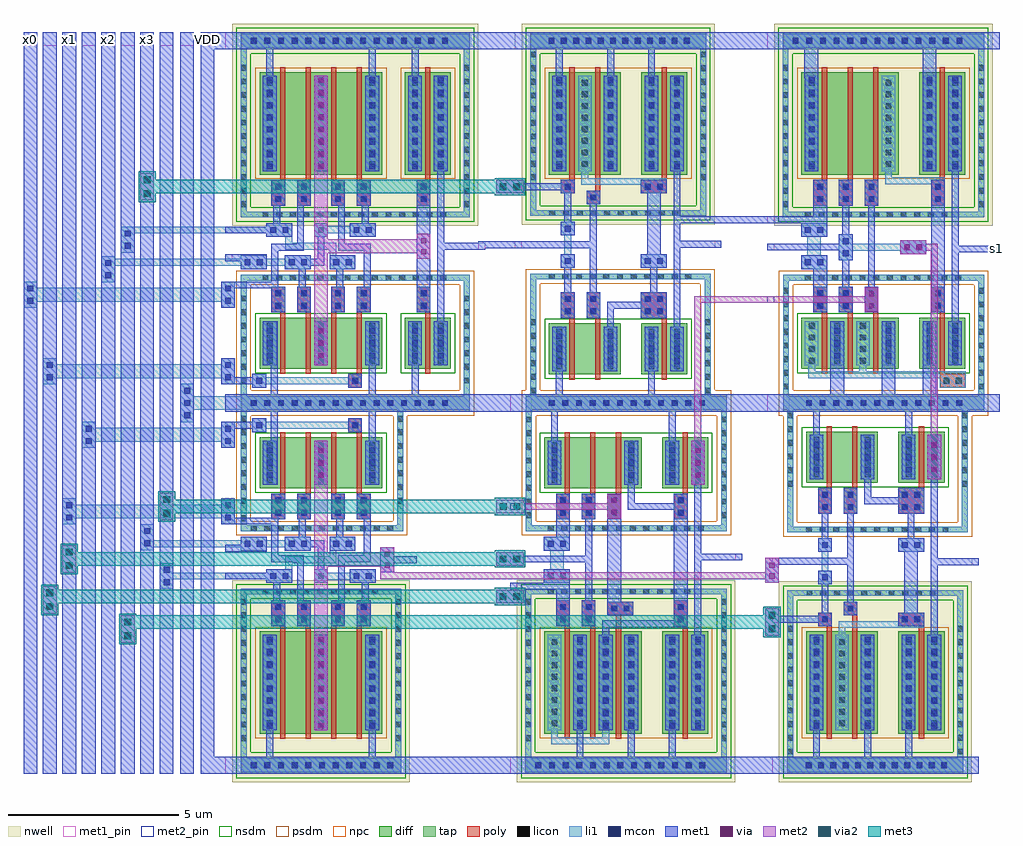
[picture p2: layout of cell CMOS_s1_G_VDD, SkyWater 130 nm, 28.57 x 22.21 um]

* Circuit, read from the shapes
.subckt CMOS_s1_G_VDD GND VDD s1 x0 x0_bar x1 x1_bar x2 x2_bar x3 x3_bar
XM1 n1 x1 GND GND sky130_fd_pr__nfet_01v8 w=1.5 l=0.15
XM2 n2 x0 GND GND sky130_fd_pr__nfet_01v8 w=1.5 l=0.15
XM3 CMOS_AND_G_VDD_5/A x3 n1 GND sky130_fd_pr__nfet_01v8 w=1.5 l=0.15
XM4 n3 x2 n2 GND sky130_fd_pr__nfet_01v8 w=1.5 l=0.15
XM5 n4 x3_bar CMOS_AND_G_VDD_5/A GND sky130_fd_pr__nfet_01v8 w=1.5 l=0.15
XM6 n5 x2_bar n3 GND sky130_fd_pr__nfet_01v8 w=1.5 l=0.15
XM7 GND x1_bar n4 GND sky130_fd_pr__nfet_01v8 w=1.5 l=0.15
XM8 GND x0_bar n5 GND sky130_fd_pr__nfet_01v8 w=1.5 l=0.15
XM9 CMOS_AND_G_VDD_4/A n3 GND GND sky130_fd_pr__nfet_01v8 w=1.5 l=0.15
XM10 n6 x0_bar GND GND sky130_fd_pr__nfet_01v8 w=1.5 l=0.15
XM11 n7 x3 GND GND sky130_fd_pr__nfet_01v8 w=1.5 l=0.15
XM12 n8 x1 n6 GND sky130_fd_pr__nfet_01v8 w=1.5 l=0.15
XM13 n9 CMOS_AND_G_VDD_4/A n7 GND sky130_fd_pr__nfet_01v8 w=1.5 l=0.15
XM14 n10 x3_bar n8 GND sky130_fd_pr__nfet_01v8 w=1.5 l=0.15
XM15 CMOS_3in_OR_G_VDD_2/A n9 GND GND sky130_fd_pr__nfet_01v8 w=1.5 l=0.15
XM16 CMOS_3in_OR_G_VDD_2/C n10 GND GND sky130_fd_pr__nfet_01v8 w=1.5 l=0.15
XM17 GND CMOS_3in_OR_G_VDD_2/A n11 GND sky130_fd_pr__nfet_01v8 w=1.5 l=0.15
XM18 n12 x2_bar GND GND sky130_fd_pr__nfet_01v8 w=1.5 l=0.15
XM19 n11 CMOS_AND_G_VDD_5/AND GND GND sky130_fd_pr__nfet_01v8 w=1.5 l=0.15
XM20 n13 CMOS_AND_G_VDD_5/A n12 GND sky130_fd_pr__nfet_01v8 w=1.5 l=0.15
XM21 GND CMOS_3in_OR_G_VDD_2/C n11 GND sky130_fd_pr__nfet_01v8 w=1.5 l=0.15
XM22 CMOS_AND_G_VDD_5/AND n13 GND GND sky130_fd_pr__nfet_01v8 w=1.5 l=0.15
XM23 s1 n11 GND GND sky130_fd_pr__nfet_01v8 w=1.5 l=0.15
XM24 n14 x3_bar VDD VDD sky130_fd_pr__pfet_01v8 w=3 l=0.15
XM25 n15 x2_bar VDD VDD sky130_fd_pr__pfet_01v8 w=3 l=0.15
XM26 CMOS_AND_G_VDD_5/A x1 n14 VDD sky130_fd_pr__pfet_01v8 w=3 l=0.15
XM27 n3 x0 n15 VDD sky130_fd_pr__pfet_01v8 w=3 l=0.15
XM28 n16 x1_bar CMOS_AND_G_VDD_5/A VDD sky130_fd_pr__pfet_01v8 w=3 l=0.15
XM29 n17 x0_bar n3 VDD sky130_fd_pr__pfet_01v8 w=3 l=0.15
XM30 VDD x3 n16 VDD sky130_fd_pr__pfet_01v8 w=3 l=0.15
XM31 VDD x2 n17 VDD sky130_fd_pr__pfet_01v8 w=3 l=0.15
XM32 CMOS_AND_G_VDD_4/A n3 VDD VDD sky130_fd_pr__pfet_01v8 w=3 l=0.15
XM33 VDD x0_bar n10 VDD sky130_fd_pr__pfet_01v8 w=3 l=0.15
XM34 n9 x3 VDD VDD sky130_fd_pr__pfet_01v8 w=3 l=0.15
XM35 n10 x1 VDD VDD sky130_fd_pr__pfet_01v8 w=3 l=0.15
XM36 VDD CMOS_AND_G_VDD_4/A n9 VDD sky130_fd_pr__pfet_01v8 w=3 l=0.15
XM37 VDD x3_bar n10 VDD sky130_fd_pr__pfet_01v8 w=3 l=0.15
XM38 CMOS_3in_OR_G_VDD_2/A n9 VDD VDD sky130_fd_pr__pfet_01v8 w=3 l=0.15
XM39 CMOS_3in_OR_G_VDD_2/C n10 VDD VDD sky130_fd_pr__pfet_01v8 w=3 l=0.15
XM40 n18 CMOS_3in_OR_G_VDD_2/A VDD VDD sky130_fd_pr__pfet_01v8 w=3 l=0.15
XM41 n13 x2_bar VDD VDD sky130_fd_pr__pfet_01v8 w=3 l=0.15
XM42 n19 CMOS_AND_G_VDD_5/AND n18 VDD sky130_fd_pr__pfet_01v8 w=3 l=0.15
XM43 VDD CMOS_AND_G_VDD_5/A n13 VDD sky130_fd_pr__pfet_01v8 w=3 l=0.15
XM44 n11 CMOS_3in_OR_G_VDD_2/C n19 VDD sky130_fd_pr__pfet_01v8 w=3 l=0.15
XM45 CMOS_AND_G_VDD_5/AND n13 VDD VDD sky130_fd_pr__pfet_01v8 w=3 l=0.15
XM46 s1 n11 VDD VDD sky130_fd_pr__pfet_01v8 w=3 l=0.15
.ends

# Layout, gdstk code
import gdstk
lib = gdstk.Library(unit=1e-6, precision=1e-09)
def R(c, l, rs):  # rectangles x0, y0, x1, y1
    for r in rs: c.add(gdstk.rectangle(r[:2], r[2:], *l))
def A(c, l, x, y, w, h, nx, ny, dx, dy):  # array of equal rectangles
    R(c, l, [(x+i*dx, y+j*dy, x+i*dx+w, y+j*dy+h) for i in range(nx) for j in range(ny)])
nwell = (64, 20)
diff = (65, 20)
tap = (65, 44)
poly = (66, 20)
licon = (66, 44)
li1 = (67, 20)
mcon = (67, 44)
met1_pin = (68, 16)
met1 = (68, 20)
via = (68, 44)
met2_pin = (69, 16)
met2 = (69, 20)
via2 = (69, 44)
met3 = (70, 20)
nsdm = (93, 44)
psdm = (94, 20)
npc = (95, 20)

cmos_xor_g_vdd = lib.new_cell('CMOS_XOR_G_VDD')
R(cmos_xor_g_vdd, nwell, [(0.2,5.56,5.4,11.48)])
R(cmos_xor_g_vdd, diff, [(1,1.375,4.6,2.875), (1,7.06,4.6,10.06)])
R(cmos_xor_g_vdd, tap, [(0.45,0.125,5.205,0.625), (0.45,0.625,0.62,3.955), (5.035,0.625,5.205,3.955), (0.45,3.955,5.205,4.125), (0.45,5.81,5.15,5.98), (0.45,5.98,0.62,10.73), (4.98,5.98,5.15,10.73), (0.45,10.73,5.15,11.23)])
A(cmos_xor_g_vdd, poly, 1.6, 1.225, 0.15, 1.8, 4, 1, 0.75, 0)
A(cmos_xor_g_vdd, poly, 1.6, 6.91, 0.15, 3.3, 4, 1, 0.75, 0)
R(cmos_xor_g_vdd, poly, [(3.6,0.825,4,1.225), (1.35,3.025,1.75,3.785), (2.1,3.025,2.5,3.785), (3.1,3.025,3.5,3.785), (3.85,3.025,4.25,3.785), (1.35,6.15,1.75,6.91), (2.1,6.15,2.5,6.91), (3.1,6.15,3.5,6.91), (3.85,6.15,4.25,6.91)])
A(cmos_xor_g_vdd, licon, 0.745, 0.29, 0.17, 0.17, 11, 2, 0.4, 3.665)
A(cmos_xor_g_vdd, licon, 0.45, 0.75, 0.17, 0.17, 1, 7, 0, 0.4)
A(cmos_xor_g_vdd, licon, 5.035, 0.75, 0.17, 0.17, 1, 7, 0, 0.4)
A(cmos_xor_g_vdd, licon, 1.215, 1.53, 0.17, 0.17, 3, 4, 1.5, 0.34)
A(cmos_xor_g_vdd, licon, 1.09, 5.81, 0.17, 0.17, 9, 1, 0.4, 0)
A(cmos_xor_g_vdd, licon, 0.45, 6.105, 0.17, 0.17, 1, 11, 0, 0.4)
A(cmos_xor_g_vdd, licon, 4.98, 6.105, 0.17, 0.17, 1, 11, 0, 0.4)
A(cmos_xor_g_vdd, licon, 1.215, 7.285, 0.17, 0.17, 3, 8, 1.5, 0.34)
A(cmos_xor_g_vdd, licon, 0.745, 10.895, 0.17, 0.17, 11, 1, 0.4, 0)
R(cmos_xor_g_vdd, licon, [(3.715,0.94,3.885,1.11), (1.465,3.14,1.635,3.31), (2.215,3.14,2.385,3.31), (3.215,3.14,3.385,3.31), (3.965,3.14,4.135,3.31), (1.465,3.5,1.635,3.67), (2.215,3.5,2.385,3.67), (3.215,3.5,3.385,3.67), (3.965,3.5,4.135,3.67), (0.45,3.66,0.62,3.83), (1.465,6.265,1.635,6.435), (2.215,6.265,2.385,6.435), (3.215,6.265,3.385,6.435), (3.965,6.265,4.135,6.435), (1.465,6.625,1.635,6.795), (2.215,6.625,2.385,6.795), (3.215,6.625,3.385,6.795), (3.965,6.625,4.135,6.795)])
A(cmos_xor_g_vdd, li1, 1.1, 1.475, 0.4, 1.3, 3, 1, 1.5, 0)
A(cmos_xor_g_vdd, li1, 1.1, 7.16, 0.4, 2.8, 3, 1, 1.5, 0)
R(cmos_xor_g_vdd, li1, [(0.45,0.175,5.205,0.575), (0.45,0.575,0.62,3.955), (5.035,0.575,5.205,3.955), (0.79,0.825,1.19,0.925), (3.6,0.825,4,0.925), (0.79,0.925,4,1.125), (0.79,1.125,1.19,1.225), (3.6,1.125,4,1.225), (1.35,3.025,1.75,3.785), (2.1,3.025,2.5,3.785), (3.1,3.025,3.5,3.785), (3.85,3.025,4.25,3.785), (0.45,3.955,5.205,4.125), (0.45,4.295,1.21,4.395), (1.74,4.295,2.5,4.395), (3.05,4.295,3.81,4.695), (0.45,4.395,2.5,4.595), (0.45,4.595,1.21,4.695), (1.74,4.595,2.5,4.695), (3.05,4.695,3.25,4.865), (1.76,4.865,3.25,5.065), (1.76,5.065,1.96,5.24), (1.2,5.24,1.96,5.64), (2.6,5.24,3,5.345), (3.64,5.24,4.4,5.345), (2.6,5.345,4.4,5.545), (2.6,5.545,3,5.64), (3.64,5.545,4.4,5.64), (0.45,5.81,5.15,5.98), (0.45,5.98,0.62,10.78), (4.98,5.98,5.15,10.78), (1.35,6.15,1.75,6.91), (2.1,6.15,2.5,6.91), (3.1,6.15,3.5,6.91), (3.85,6.15,4.25,6.91), (0.45,10.78,5.15,11.18)])
A(cmos_xor_g_vdd, mcon, 0.745, 0.29, 0.17, 0.17, 11, 2, 0.4, 10.605)
A(cmos_xor_g_vdd, mcon, 1.215, 1.68, 0.17, 0.17, 3, 3, 1.5, 0.36)
A(cmos_xor_g_vdd, mcon, 1.675, 5.355, 0.17, 0.17, 3, 1, 1.04, 0)
A(cmos_xor_g_vdd, mcon, 1.215, 7.215, 0.17, 0.17, 3, 8, 1.5, 0.36)
R(cmos_xor_g_vdd, mcon, [(0.905,0.94,1.075,1.11), (3.715,0.94,3.885,1.11), (1.465,3.14,1.635,3.31), (2.215,3.14,2.385,3.31), (3.215,3.14,3.385,3.31), (3.965,3.14,4.135,3.31), (1.465,3.5,1.635,3.67), (2.215,3.5,2.385,3.67), (3.215,3.5,3.385,3.67), (3.965,3.5,4.135,3.67), (0.565,4.41,0.735,4.58), (0.925,4.41,1.095,4.58), (1.855,4.41,2.025,4.58), (2.215,4.41,2.385,4.58), (3.165,4.41,3.335,4.58), (3.525,4.41,3.695,4.58), (1.315,5.355,1.485,5.525), (4.115,5.355,4.285,5.525), (1.465,6.265,1.635,6.435), (2.215,6.265,2.385,6.435), (3.215,6.265,3.385,6.435), (3.965,6.265,4.135,6.435), (1.465,6.625,1.635,6.795), (2.215,6.625,2.385,6.795), (3.215,6.625,3.385,6.795), (3.965,6.625,4.135,6.795)])
R(cmos_xor_g_vdd, met1_pin, [(0,0.125,0.5,0.625), (0,0.925,0.2,1.125), (0,3.73,0.2,3.93), (0,4.53,0.2,4.73), (5.4,4.865,5.6,5.065), (0,5.34,0.2,5.54), (0,10.73,0.5,11.23)])
A(cmos_xor_g_vdd, met1, 1.1, 7.16, 0.4, 2.8, 3, 1, 1.5, 0)
R(cmos_xor_g_vdd, met1, [(0,0.125,5.655,0.625), (1.33,0.625,1.53,1.475), (4.2,0.625,4.4,1.475), (0.79,0.825,1.19,0.925), (3.6,0.825,4,1.225), (0,0.925,1.19,1.125), (0.79,1.125,1.19,1.225), (1.1,1.475,1.53,2.775), (2.6,1.475,3,2.775), (4.1,1.475,4.5,2.775), (1.35,3.025,1.75,3.73), (2.1,3.025,2.5,3.785), (3.1,3.025,3.5,3.785), (3.85,3.025,4.25,3.785), (0,3.73,1.75,3.785), (0,3.785,1.55,3.93), (2.15,3.785,2.35,4.295), (3.25,3.785,3.45,4.295), (4.05,3.785,4.25,4.835), (1.35,3.93,1.55,4.835), (0.45,4.295,1.21,4.53), (1.74,4.295,2.5,4.395), (3.05,4.295,3.81,4.695), (1.74,4.395,2.9,4.595), (0,4.53,1.21,4.73), (1.74,4.595,2.5,4.695), (2.7,4.595,2.9,5.24), (4.54,4.605,4.94,4.865), (1.35,4.835,2.3,5.035), (3.3,4.835,4.25,5.035), (4.54,4.865,5.6,5.065), (2.1,5.035,2.3,6.15), (3.3,5.035,3.5,6.15), (4.54,5.065,4.94,5.335), (1.2,5.24,1.96,5.34), (2.6,5.24,3,5.64), (3.64,5.24,4.4,5.64), (0,5.34,1.96,5.54), (1.2,5.54,1.96,5.64), (1.4,5.64,1.6,6.15), (4,5.64,4.2,6.15), (1.35,6.15,1.75,6.91), (2.1,6.15,2.5,6.91), (3.1,6.15,3.5,6.91), (3.85,6.15,4.25,6.91), (1.2,9.96,1.4,10.73), (4.2,9.96,4.4,10.73), (0,10.73,5.6,11.23)])
A(cmos_xor_g_vdd, via, 2.725, 1.69, 0.15, 0.15, 1, 3, 0, 0.36)
A(cmos_xor_g_vdd, via, 2.725, 7.225, 0.15, 0.15, 1, 8, 0, 0.36)
R(cmos_xor_g_vdd, via, [(4.665,4.73,4.815,4.88), (4.665,5.05,4.815,5.2)])
R(cmos_xor_g_vdd, met2, [(2.6,1.475,3,4.765), (4.54,4.605,4.94,4.765), (2.6,4.765,4.94,5.165), (2.6,5.165,3,9.96), (4.54,5.165,4.94,5.335)])
R(cmos_xor_g_vdd, nsdm, [(0.875,1.25,4.725,3), (0.325,5.685,5.275,6.105), (0.325,6.105,0.745,10.605), (4.855,6.105,5.275,10.605), (0.325,10.605,5.275,11.355)])
R(cmos_xor_g_vdd, psdm, [(0.325,0,5.33,0.75), (0.325,0.75,0.745,3.83), (4.91,0.75,5.33,3.83), (0.325,3.83,5.33,4.25), (0.875,6.935,4.725,10.185)])
R(cmos_xor_g_vdd, npc, [(3.615,0.84,3.985,1.21), (1.365,3.04,1.735,3.77), (2.115,3.04,2.485,3.77), (3.115,3.04,3.485,3.77), (3.865,3.04,4.235,3.77), (1.365,6.165,1.735,6.895), (2.115,6.165,2.485,6.895), (3.115,6.165,3.485,6.895), (3.865,6.165,4.235,6.895)])
cmos_xor_g_vdd.add(gdstk.Label('XOR', (5.5,4.965), layer=68, texttype=5))
cmos_xor_g_vdd.add(gdstk.Label('B_bar', (0.1,5.44), layer=68, texttype=5))
cmos_xor_g_vdd.add(gdstk.Label('B', (0.1,4.63), layer=68, texttype=5))
cmos_xor_g_vdd.add(gdstk.Label('A', (0.1,3.83), layer=68, texttype=5))
cmos_xor_g_vdd.add(gdstk.Label('A_bar', (0.1,1.025), layer=68, texttype=5))
cmos_xor_g_vdd.add(gdstk.Label('VDD', (0.25,10.98), layer=68, texttype=5))
cmos_xor_g_vdd.add(gdstk.Label('GND', (0.25,0.375), layer=68, texttype=5))

cmos_3in_and_g_vdd = lib.new_cell('CMOS_3in_AND_G_VDD')
R(cmos_3in_and_g_vdd, nwell, [(0.2,5.56,6.6,11.48)])
R(cmos_3in_and_g_vdd, diff, [(1,1.375,3.85,2.875), (4.45,1.375,5.8,2.875), (1,7.06,3.85,10.06), (4.45,7.06,5.8,10.06)])
R(cmos_3in_and_g_vdd, tap, [(0.465,0.125,6.35,0.625), (0.465,0.625,0.635,3.955), (6.18,0.625,6.35,3.955), (0.465,3.955,6.35,4.125), (0.45,5.81,6.35,5.98), (0.45,5.98,0.62,10.73), (6.18,5.98,6.35,10.73), (0.45,10.73,6.35,11.23)])
A(cmos_3in_and_g_vdd, poly, 1.6, 1.225, 0.15, 1.8, 3, 1, 0.75, 0)
A(cmos_3in_and_g_vdd, poly, 1.35, 3.025, 0.4, 0.76, 3, 1, 0.75, 0)
R(cmos_3in_and_g_vdd, poly, [(5.05,1.225,5.2,3.025), (4.8,3.025,5.2,3.785), (1.35,6.15,1.75,6.91), (2.1,6.15,2.5,6.91), (4.8,6.15,5.2,6.91), (2.85,6.19,3.61,6.59), (3.1,6.59,3.25,10.21), (1.6,6.91,1.75,10.21), (2.35,6.91,2.5,10.21), (5.05,6.91,5.2,10.21)])
A(cmos_3in_and_g_vdd, licon, 1.135, 0.29, 0.17, 0.17, 12, 1, 0.4, 0)
A(cmos_3in_and_g_vdd, licon, 0.465, 0.775, 0.17, 0.17, 1, 8, 0, 0.4)
A(cmos_3in_and_g_vdd, licon, 6.18, 0.775, 0.17, 0.17, 1, 8, 0, 0.4)
A(cmos_3in_and_g_vdd, licon, 1.215, 1.53, 0.17, 0.17, 1, 4, 0, 0.34)
A(cmos_3in_and_g_vdd, licon, 3.465, 1.53, 0.17, 0.17, 1, 4, 0, 0.34)
A(cmos_3in_and_g_vdd, licon, 4.665, 1.53, 0.17, 0.17, 1, 4, 0, 0.34)
A(cmos_3in_and_g_vdd, licon, 5.415, 1.53, 0.17, 0.17, 1, 4, 0, 0.34)
A(cmos_3in_and_g_vdd, licon, 1.465, 3.14, 0.17, 0.17, 3, 2, 0.75, 0.36)
A(cmos_3in_and_g_vdd, licon, 1.105, 3.955, 0.17, 0.17, 12, 1, 0.4, 0)
A(cmos_3in_and_g_vdd, licon, 1.105, 5.81, 0.17, 0.17, 11, 1, 0.4, 0)
A(cmos_3in_and_g_vdd, licon, 0.45, 6.105, 0.17, 0.17, 1, 11, 0, 0.4)
A(cmos_3in_and_g_vdd, licon, 6.18, 6.105, 0.17, 0.17, 1, 11, 0, 0.4)
A(cmos_3in_and_g_vdd, licon, 1.215, 7.285, 0.17, 0.17, 4, 8, 0.75, 0.34)
A(cmos_3in_and_g_vdd, licon, 4.665, 7.285, 0.17, 0.17, 1, 8, 0, 0.34)
A(cmos_3in_and_g_vdd, licon, 5.415, 7.285, 0.17, 0.17, 1, 8, 0, 0.34)
A(cmos_3in_and_g_vdd, licon, 0.745, 10.895, 0.17, 0.17, 13, 1, 0.4, 0)
R(cmos_3in_and_g_vdd, licon, [(4.915,3.14,5.085,3.31), (4.915,3.5,5.085,3.67), (1.465,6.265,1.635,6.435), (2.215,6.265,2.385,6.435), (4.915,6.265,5.085,6.435), (2.965,6.305,3.135,6.475), (3.325,6.305,3.495,6.475), (1.465,6.625,1.635,6.795), (2.215,6.625,2.385,6.795), (4.915,6.625,5.085,6.795)])
A(cmos_3in_and_g_vdd, li1, 1.35, 3.025, 0.4, 0.76, 3, 1, 0.75, 0)
A(cmos_3in_and_g_vdd, li1, 1.1, 7.16, 0.4, 2.8, 4, 1, 0.75, 0)
R(cmos_3in_and_g_vdd, li1, [(0.465,0.175,6.35,0.575), (0.465,0.575,0.635,3.955), (6.18,0.575,6.35,3.955), (1.1,1.475,1.5,2.775), (3.35,1.475,3.75,2.775), (4.55,1.475,4.95,2.775), (5.3,1.475,5.7,2.775), (4.8,3.025,5.2,3.785), (0.465,3.955,6.35,4.125), (0.99,4.295,1.75,4.695), (1.17,4.695,1.57,5.24), (0.99,5.24,1.75,5.64), (0.45,5.81,6.35,5.98), (0.45,5.98,0.62,10.78), (6.18,5.98,6.35,10.78), (1.35,6.15,1.75,6.91), (2.1,6.15,2.5,6.91), (4.8,6.15,5.2,6.91), (2.85,6.19,3.61,6.59), (4.55,7.16,4.95,9.96), (5.3,7.16,5.7,9.96), (1.2,9.96,1.4,10.16), (2.7,9.96,2.9,10.16), (1.2,10.16,2.9,10.36), (0.45,10.78,6.35,11.18)])
A(cmos_3in_and_g_vdd, mcon, 1.135, 0.29, 0.17, 0.17, 12, 1, 0.4, 0)
A(cmos_3in_and_g_vdd, mcon, 1.215, 1.68, 0.17, 0.17, 1, 3, 0, 0.36)
A(cmos_3in_and_g_vdd, mcon, 3.465, 1.68, 0.17, 0.17, 1, 3, 0, 0.36)
A(cmos_3in_and_g_vdd, mcon, 4.665, 1.68, 0.17, 0.17, 1, 3, 0, 0.36)
A(cmos_3in_and_g_vdd, mcon, 5.415, 1.68, 0.17, 0.17, 1, 3, 0, 0.36)
A(cmos_3in_and_g_vdd, mcon, 1.465, 3.14, 0.17, 0.17, 3, 2, 0.75, 0.36)
A(cmos_3in_and_g_vdd, mcon, 1.965, 7.215, 0.17, 0.17, 3, 8, 0.75, 0.36)
A(cmos_3in_and_g_vdd, mcon, 4.665, 7.215, 0.17, 0.17, 1, 8, 0, 0.36)
A(cmos_3in_and_g_vdd, mcon, 5.415, 7.215, 0.17, 0.17, 1, 8, 0, 0.36)
A(cmos_3in_and_g_vdd, mcon, 0.745, 10.895, 0.17, 0.17, 13, 1, 0.4, 0)
R(cmos_3in_and_g_vdd, mcon, [(4.915,3.14,5.085,3.31), (4.915,3.5,5.085,3.67), (1.105,4.41,1.275,4.58), (1.465,4.41,1.635,4.58), (1.105,5.355,1.275,5.525), (1.465,5.355,1.635,5.525), (1.465,6.265,1.635,6.435), (2.215,6.265,2.385,6.435), (4.915,6.265,5.085,6.435), (2.965,6.305,3.135,6.475), (3.325,6.305,3.495,6.475), (1.465,6.625,1.635,6.795), (2.215,6.625,2.385,6.795), (4.915,6.625,5.085,6.795)])
R(cmos_3in_and_g_vdd, met1_pin, [(0,0.125,0.5,0.625), (6.6,4.785,6.8,4.985), (0,4.84,0.2,5.04), (0,5.64,0.2,5.84), (0,10.73,0.5,11.23)])
A(cmos_3in_and_g_vdd, met1, 1.85, 7.16, 0.4, 2.8, 3, 1, 0.75, 0)
R(cmos_3in_and_g_vdd, met1, [(0,0.125,6.8,0.625), (1.2,0.625,1.4,1.475), (4.65,0.625,4.85,1.475), (1.1,1.475,1.5,2.775), (3.35,1.475,3.75,2.775), (4.55,1.475,4.95,2.775), (5.3,1.475,5.7,2.775), (3.45,2.775,3.65,3.305), (5.4,2.775,5.6,4.785), (1.35,3.025,1.75,4.295), (2.1,3.025,2.5,3.785), (2.85,3.025,3.25,6.19), (4.8,3.025,5.2,3.305), (3.45,3.305,5.2,3.505), (4.8,3.505,5.2,6.74), (2.2,3.785,2.4,4.84), (0.99,4.295,1.75,4.695), (5.4,4.785,6.8,4.985), (0,4.84,2.4,5.04), (5.4,4.985,5.6,7.16), (2.2,5.04,2.4,6.15), (0.99,5.24,1.75,5.64), (0,5.64,1.75,5.84), (1.35,5.84,1.75,6.91), (2.1,6.15,2.5,6.91), (2.85,6.19,3.61,6.59), (2.7,6.74,5.2,6.94), (2.7,6.94,2.9,7.16), (4.55,7.16,4.95,9.96), (5.3,7.16,5.7,9.96), (1.95,9.96,2.15,10.73), (3.45,9.96,3.65,10.73), (4.65,9.96,4.85,10.73), (0,10.73,6.8,11.23)])
R(cmos_3in_and_g_vdd, via, [(2.975,3.165,3.125,3.315), (2.975,3.485,3.125,3.635)])
R(cmos_3in_and_g_vdd, met2_pin, [(0,3.305,0.2,3.505)])
R(cmos_3in_and_g_vdd, met2, [(2.85,3.04,3.25,3.305), (0,3.305,3.25,3.505), (2.85,3.505,3.25,3.77)])
R(cmos_3in_and_g_vdd, nsdm, [(0.875,1.25,5.925,3), (0.325,5.685,6.475,6.105), (0.325,6.105,0.745,10.605), (6.055,6.105,6.475,10.605), (0.325,10.605,6.475,11.355)])
R(cmos_3in_and_g_vdd, psdm, [(0.34,0,6.475,0.75), (0.34,0.75,0.76,3.83), (6.055,0.75,6.475,3.83), (0.34,3.83,6.475,4.25), (0.875,6.935,5.925,10.185)])
A(cmos_3in_and_g_vdd, npc, 1.365, 3.04, 0.37, 0.73, 3, 1, 0.75, 0)
R(cmos_3in_and_g_vdd, npc, [(4.815,3.04,5.185,3.77), (1.365,6.165,1.735,6.895), (2.115,6.165,2.485,6.895), (4.815,6.165,5.185,6.895), (2.865,6.205,3.595,6.575)])
cmos_3in_and_g_vdd.add(gdstk.Label('GND', (0.25,0.375), layer=68, texttype=5))
cmos_3in_and_g_vdd.add(gdstk.Label('VDD', (0.25,10.98), layer=68, texttype=5))
cmos_3in_and_g_vdd.add(gdstk.Label('C', (0.1,5.74), layer=68, texttype=5))
cmos_3in_and_g_vdd.add(gdstk.Label('B', (0.1,4.94), layer=68, texttype=5))
cmos_3in_and_g_vdd.add(gdstk.Label('OUT', (6.7,4.885), layer=68, texttype=5))
cmos_3in_and_g_vdd.add(gdstk.Label('A', (0.1,3.405), layer=69, texttype=5))

cmos_3in_or_g_vdd = lib.new_cell('CMOS_3in_OR_G_VDD')
R(cmos_3in_or_g_vdd, nwell, [(0.2,5.56,6.6,11.48)])
R(cmos_3in_or_g_vdd, diff, [(1,1.375,3.85,2.875), (4.45,1.375,5.8,2.875), (1,7.06,3.85,10.06), (4.45,7.06,5.8,10.06)])
R(cmos_3in_or_g_vdd, tap, [(0.465,0.125,6.35,0.625), (0.465,0.625,0.635,3.955), (6.18,0.625,6.35,3.955), (0.465,3.955,6.35,4.125), (0.45,5.81,6.35,5.98), (0.45,5.98,0.62,10.73), (6.18,5.98,6.35,10.73), (0.45,10.73,6.35,11.23)])
A(cmos_3in_or_g_vdd, poly, 1.6, 1.225, 0.15, 1.8, 3, 1, 0.75, 0)
A(cmos_3in_or_g_vdd, poly, 1.35, 3.025, 0.4, 0.76, 3, 2, 0.75, 3.125)
A(cmos_3in_or_g_vdd, poly, 1.6, 6.91, 0.15, 3.3, 3, 1, 0.75, 0)
R(cmos_3in_or_g_vdd, poly, [(5.05,0.825,5.81,1.225), (5.05,1.225,5.2,3.025), (4.8,3.025,5.2,3.785), (4.8,6.15,5.2,6.91), (5.05,6.91,5.2,10.21)])
A(cmos_3in_or_g_vdd, licon, 1.135, 0.29, 0.17, 0.17, 12, 1, 0.4, 0)
A(cmos_3in_or_g_vdd, licon, 0.465, 0.775, 0.17, 0.17, 1, 8, 0, 0.4)
A(cmos_3in_or_g_vdd, licon, 6.18, 0.775, 0.17, 0.17, 1, 8, 0, 0.4)
A(cmos_3in_or_g_vdd, licon, 1.215, 1.53, 0.17, 0.17, 4, 4, 0.75, 0.34)
A(cmos_3in_or_g_vdd, licon, 4.665, 1.53, 0.17, 0.17, 1, 4, 0, 0.34)
A(cmos_3in_or_g_vdd, licon, 5.415, 1.53, 0.17, 0.17, 1, 4, 0, 0.34)
A(cmos_3in_or_g_vdd, licon, 1.465, 3.14, 0.17, 0.17, 3, 2, 0.75, 0.36)
A(cmos_3in_or_g_vdd, licon, 1.105, 3.955, 0.17, 0.17, 12, 1, 0.4, 0)
A(cmos_3in_or_g_vdd, licon, 1.105, 5.81, 0.17, 0.17, 11, 1, 0.4, 0)
A(cmos_3in_or_g_vdd, licon, 0.45, 6.105, 0.17, 0.17, 1, 11, 0, 0.4)
A(cmos_3in_or_g_vdd, licon, 6.18, 6.105, 0.17, 0.17, 1, 11, 0, 0.4)
A(cmos_3in_or_g_vdd, licon, 1.465, 6.265, 0.17, 0.17, 3, 2, 0.75, 0.36)
A(cmos_3in_or_g_vdd, licon, 1.215, 7.285, 0.17, 0.17, 1, 8, 0, 0.34)
A(cmos_3in_or_g_vdd, licon, 3.465, 7.285, 0.17, 0.17, 1, 8, 0, 0.34)
A(cmos_3in_or_g_vdd, licon, 4.665, 7.285, 0.17, 0.17, 1, 8, 0, 0.34)
A(cmos_3in_or_g_vdd, licon, 5.415, 7.285, 0.17, 0.17, 1, 8, 0, 0.34)
A(cmos_3in_or_g_vdd, licon, 0.745, 10.895, 0.17, 0.17, 13, 1, 0.4, 0)
R(cmos_3in_or_g_vdd, licon, [(5.165,0.94,5.335,1.11), (5.525,0.94,5.695,1.11), (4.915,3.14,5.085,3.31), (4.915,3.5,5.085,3.67), (4.915,6.265,5.085,6.435), (4.915,6.625,5.085,6.795)])
A(cmos_3in_or_g_vdd, li1, 1.1, 1.475, 0.4, 1.3, 4, 1, 0.75, 0)
A(cmos_3in_or_g_vdd, li1, 1.35, 3.025, 0.4, 0.76, 3, 2, 0.75, 3.125)
R(cmos_3in_or_g_vdd, li1, [(0.465,0.175,6.35,0.575), (0.465,0.575,0.635,3.955), (6.18,0.575,6.35,3.955), (5.05,0.825,5.81,1.105), (1.2,1.105,5.81,1.305), (1.2,1.305,1.4,1.475), (2.7,1.305,2.9,1.475), (4.55,1.475,4.95,2.775), (5.3,1.475,5.7,2.775), (4.8,3.025,5.2,3.785), (0.465,3.955,6.35,4.125), (0.99,4.295,1.75,4.695), (1.17,4.695,1.57,5.24), (0.99,5.24,1.75,5.64), (0.45,5.81,6.35,5.98), (0.45,5.98,0.62,10.78), (6.18,5.98,6.35,10.78), (4.8,6.15,5.2,6.785), (3.45,6.785,5.2,6.985), (3.45,6.985,3.65,7.16), (1.1,7.16,1.5,9.96), (3.35,7.16,3.75,9.96), (4.55,7.16,4.95,9.96), (5.3,7.16,5.7,9.96), (0.45,10.78,6.35,11.18)])
A(cmos_3in_or_g_vdd, mcon, 1.135, 0.29, 0.17, 0.17, 12, 1, 0.4, 0)
A(cmos_3in_or_g_vdd, mcon, 1.965, 1.68, 0.17, 0.17, 1, 3, 0, 0.36)
A(cmos_3in_or_g_vdd, mcon, 3.465, 1.68, 0.17, 0.17, 1, 3, 0, 0.36)
A(cmos_3in_or_g_vdd, mcon, 4.665, 1.68, 0.17, 0.17, 1, 3, 0, 0.36)
A(cmos_3in_or_g_vdd, mcon, 5.415, 1.68, 0.17, 0.17, 1, 3, 0, 0.36)
A(cmos_3in_or_g_vdd, mcon, 1.465, 3.14, 0.17, 0.17, 3, 2, 0.75, 0.36)
A(cmos_3in_or_g_vdd, mcon, 1.465, 6.265, 0.17, 0.17, 3, 2, 0.75, 0.36)
A(cmos_3in_or_g_vdd, mcon, 1.215, 7.215, 0.17, 0.17, 1, 8, 0, 0.36)
A(cmos_3in_or_g_vdd, mcon, 4.665, 7.215, 0.17, 0.17, 1, 8, 0, 0.36)
A(cmos_3in_or_g_vdd, mcon, 5.415, 7.215, 0.17, 0.17, 1, 8, 0, 0.36)
A(cmos_3in_or_g_vdd, mcon, 0.745, 10.895, 0.17, 0.17, 13, 1, 0.4, 0)
R(cmos_3in_or_g_vdd, mcon, [(4.915,3.14,5.085,3.31), (4.915,3.5,5.085,3.67), (1.105,4.41,1.275,4.58), (1.465,4.41,1.635,4.58), (1.105,5.355,1.275,5.525), (1.465,5.355,1.635,5.525), (4.915,6.265,5.085,6.435), (4.915,6.625,5.085,6.795)])
R(cmos_3in_or_g_vdd, met1_pin, [(0,0.125,0.5,0.625), (6.6,4.785,6.8,4.985), (0,4.84,0.2,5.04), (0,5.64,0.2,5.84), (0,10.73,0.5,11.23)])
R(cmos_3in_or_g_vdd, met1, [(0,0.125,6.8,0.625), (1.85,0.625,2.25,2.775), (3.35,0.625,3.75,2.775), (4.55,0.625,4.95,2.775), (5.3,1.475,5.7,2.775), (5.4,2.775,5.6,4.785), (1.35,3.025,1.75,4.295), (2.1,3.025,2.5,3.785), (2.85,3.025,3.25,3.785), (4.8,3.025,5.2,6.91), (2.2,3.785,2.4,4.84), (2.95,3.785,3.15,6.15), (0.99,4.295,1.75,4.695), (5.4,4.785,6.8,4.985), (0,4.84,2.4,5.04), (5.4,4.985,5.6,7.16), (2.2,5.04,2.4,6.15), (0.99,5.24,1.75,5.64), (0,5.64,1.75,5.84), (1.35,5.84,1.75,6.91), (2.1,6.15,2.5,6.91), (2.85,6.15,3.25,6.91), (1.1,7.16,1.5,9.885), (4.55,7.16,4.95,10.73), (5.3,7.16,5.7,9.96), (1.09,9.885,1.5,9.96), (1.09,9.96,1.49,10.73), (0,10.73,6.8,11.23)])
R(cmos_3in_or_g_vdd, via, [(2.975,3.165,3.125,3.315), (2.975,3.485,3.125,3.635)])
R(cmos_3in_or_g_vdd, met2_pin, [(0,3.305,0.2,3.505)])
R(cmos_3in_or_g_vdd, met2, [(2.85,3.04,3.25,3.305), (0,3.305,3.25,3.505), (2.85,3.505,3.25,3.77)])
R(cmos_3in_or_g_vdd, nsdm, [(0.875,1.25,5.925,3), (0.325,5.685,6.475,6.105), (0.325,6.105,0.745,10.605), (6.055,6.105,6.475,10.605), (0.325,10.605,6.475,11.355)])
R(cmos_3in_or_g_vdd, psdm, [(0.34,0,6.475,0.75), (0.34,0.75,0.76,3.83), (6.055,0.75,6.475,3.83), (0.34,3.83,6.475,4.25), (0.875,6.935,5.925,10.185)])
A(cmos_3in_or_g_vdd, npc, 1.365, 3.04, 0.37, 0.73, 3, 2, 0.75, 3.125)
R(cmos_3in_or_g_vdd, npc, [(5.065,0.84,5.795,1.21), (4.815,3.04,5.185,3.77), (4.815,6.165,5.185,6.895)])
cmos_3in_or_g_vdd.add(gdstk.Label('GND', (0.25,0.375), layer=68, texttype=5))
cmos_3in_or_g_vdd.add(gdstk.Label('VDD', (0.25,10.98), layer=68, texttype=5))
cmos_3in_or_g_vdd.add(gdstk.Label('A', (0.1,5.74), layer=68, texttype=5))
cmos_3in_or_g_vdd.add(gdstk.Label('B', (0.1,4.94), layer=68, texttype=5))
cmos_3in_or_g_vdd.add(gdstk.Label('OR', (6.7,4.885), layer=68, texttype=5))
cmos_3in_or_g_vdd.add(gdstk.Label('C', (0.1,3.405), layer=69, texttype=5))

cmos_xnor_g_vdd = lib.new_cell('CMOS_XNOR_G_VDD')
R(cmos_xnor_g_vdd, nwell, [(0.2,5.56,7.405,11.48)])
R(cmos_xnor_g_vdd, diff, [(1,1.375,4.6,2.875), (5.255,1.375,6.605,2.875), (1,7.06,4.6,10.06), (5.255,7.06,6.605,10.06)])
R(cmos_xnor_g_vdd, tap, [(0.45,0.125,7.155,0.625), (0.45,0.625,0.62,3.955), (6.985,0.625,7.155,3.955), (0.45,3.955,7.155,4.125), (0.45,5.81,7.155,5.98), (0.45,5.98,0.62,10.73), (6.985,5.98,7.155,10.73), (0.45,10.73,7.155,11.23)])
A(cmos_xnor_g_vdd, poly, 1.6, 1.225, 0.15, 1.8, 4, 1, 0.75, 0)
A(cmos_xnor_g_vdd, poly, 1.6, 6.91, 0.15, 3.3, 4, 1, 0.75, 0)
R(cmos_xnor_g_vdd, poly, [(3.6,0.825,4,1.225), (5.855,1.225,6.005,3.025), (1.35,3.025,1.75,3.785), (2.1,3.025,2.5,3.785), (3.1,3.025,3.5,3.785), (3.85,3.025,4.25,3.785), (5.605,3.025,6.005,3.785), (1.35,6.15,1.75,6.91), (2.1,6.15,2.5,6.91), (3.1,6.15,3.5,6.91), (3.85,6.15,4.25,6.91), (5.605,6.15,6.005,6.91), (5.855,6.91,6.005,10.21)])
A(cmos_xnor_g_vdd, licon, 0.745, 0.29, 0.17, 0.17, 15, 2, 0.4, 10.605)
A(cmos_xnor_g_vdd, licon, 0.45, 0.95, 0.17, 0.17, 1, 7, 0, 0.4)
A(cmos_xnor_g_vdd, licon, 6.985, 0.95, 0.17, 0.17, 1, 7, 0, 0.4)
A(cmos_xnor_g_vdd, licon, 1.215, 1.53, 0.17, 0.17, 3, 4, 1.5, 0.34)
A(cmos_xnor_g_vdd, licon, 5.47, 1.53, 0.17, 0.17, 1, 4, 0, 0.34)
A(cmos_xnor_g_vdd, licon, 6.22, 1.53, 0.17, 0.17, 1, 4, 0, 0.34)
A(cmos_xnor_g_vdd, licon, 1.09, 3.955, 0.17, 0.17, 14, 2, 0.4, 1.855)
A(cmos_xnor_g_vdd, licon, 0.45, 6.105, 0.17, 0.17, 1, 11, 0, 0.4)
A(cmos_xnor_g_vdd, licon, 6.985, 6.105, 0.17, 0.17, 1, 11, 0, 0.4)
A(cmos_xnor_g_vdd, licon, 1.215, 7.285, 0.17, 0.17, 3, 8, 1.5, 0.34)
A(cmos_xnor_g_vdd, licon, 5.47, 7.285, 0.17, 0.17, 1, 8, 0, 0.34)
A(cmos_xnor_g_vdd, licon, 6.22, 7.285, 0.17, 0.17, 1, 8, 0, 0.34)
R(cmos_xnor_g_vdd, licon, [(3.715,0.94,3.885,1.11), (1.465,3.14,1.635,3.31), (2.215,3.14,2.385,3.31), (3.215,3.14,3.385,3.31), (3.965,3.14,4.135,3.31), (5.72,3.14,5.89,3.31), (1.465,3.5,1.635,3.67), (2.215,3.5,2.385,3.67), (3.215,3.5,3.385,3.67), (3.965,3.5,4.135,3.67), (5.72,3.5,5.89,3.67), (1.465,6.265,1.635,6.435), (2.215,6.265,2.385,6.435), (3.215,6.265,3.385,6.435), (3.965,6.265,4.135,6.435), (5.72,6.265,5.89,6.435), (1.465,6.625,1.635,6.795), (2.215,6.625,2.385,6.795), (3.215,6.625,3.385,6.795), (3.965,6.625,4.135,6.795), (5.72,6.625,5.89,6.795)])
A(cmos_xnor_g_vdd, li1, 1.1, 1.475, 0.4, 1.3, 3, 1, 1.5, 0)
A(cmos_xnor_g_vdd, li1, 1.1, 7.16, 0.4, 2.8, 3, 1, 1.5, 0)
R(cmos_xnor_g_vdd, li1, [(0.45,0.175,7.155,0.575), (0.45,0.575,0.62,3.955), (6.985,0.575,7.155,3.955), (0.79,0.825,1.19,0.925), (3.6,0.825,4,0.925), (0.79,0.925,4,1.125), (0.79,1.125,1.19,1.225), (3.6,1.125,4,1.225), (5.355,1.475,5.755,2.775), (6.105,1.475,6.505,2.775), (1.35,3.025,1.75,3.785), (2.1,3.025,2.5,3.785), (3.1,3.025,3.5,3.785), (3.85,3.025,4.25,3.785), (5.605,3.025,6.005,3.785), (0.45,3.955,7.155,4.125), (0.45,4.295,1.21,4.395), (1.74,4.295,2.5,4.395), (3.05,4.295,3.81,4.695), (0.45,4.395,2.5,4.595), (0.45,4.595,1.21,4.695), (1.74,4.595,2.5,4.695), (3.05,4.695,3.25,4.865), (1.76,4.865,3.25,5.065), (1.76,5.065,1.96,5.24), (1.2,5.24,1.96,5.64), (2.6,5.24,3,5.345), (3.64,5.24,4.4,5.345), (2.6,5.345,4.4,5.545), (2.6,5.545,3,5.64), (3.64,5.545,4.4,5.64), (0.45,5.81,7.155,5.98), (0.45,5.98,0.62,10.78), (6.985,5.98,7.155,10.78), (1.35,6.15,1.75,6.91), (2.1,6.15,2.5,6.91), (3.1,6.15,3.5,6.91), (3.85,6.15,4.25,6.91), (5.605,6.15,6.005,6.91), (5.355,7.16,5.755,9.96), (6.105,7.16,6.505,9.96), (0.45,10.78,7.155,11.18)])
A(cmos_xnor_g_vdd, mcon, 0.745, 0.29, 0.17, 0.17, 15, 2, 0.4, 10.605)
A(cmos_xnor_g_vdd, mcon, 1.215, 1.68, 0.17, 0.17, 3, 3, 1.5, 0.36)
A(cmos_xnor_g_vdd, mcon, 5.47, 1.68, 0.17, 0.17, 1, 3, 0, 0.36)
A(cmos_xnor_g_vdd, mcon, 6.22, 1.68, 0.17, 0.17, 1, 3, 0, 0.36)
A(cmos_xnor_g_vdd, mcon, 1.675, 5.355, 0.17, 0.17, 3, 1, 1.04, 0)
A(cmos_xnor_g_vdd, mcon, 1.215, 7.215, 0.17, 0.17, 3, 8, 1.5, 0.36)
A(cmos_xnor_g_vdd, mcon, 5.47, 7.215, 0.17, 0.17, 1, 8, 0, 0.36)
A(cmos_xnor_g_vdd, mcon, 6.22, 7.215, 0.17, 0.17, 1, 8, 0, 0.36)
R(cmos_xnor_g_vdd, mcon, [(0.905,0.94,1.075,1.11), (3.715,0.94,3.885,1.11), (1.465,3.14,1.635,3.31), (2.215,3.14,2.385,3.31), (3.215,3.14,3.385,3.31), (3.965,3.14,4.135,3.31), (5.72,3.14,5.89,3.31), (1.465,3.5,1.635,3.67), (2.215,3.5,2.385,3.67), (3.215,3.5,3.385,3.67), (3.965,3.5,4.135,3.67), (5.72,3.5,5.89,3.67), (0.565,4.41,0.735,4.58), (0.925,4.41,1.095,4.58), (1.855,4.41,2.025,4.58), (2.215,4.41,2.385,4.58), (3.165,4.41,3.335,4.58), (3.525,4.41,3.695,4.58), (1.315,5.355,1.485,5.525), (4.115,5.355,4.285,5.525), (1.465,6.265,1.635,6.435), (2.215,6.265,2.385,6.435), (3.215,6.265,3.385,6.435), (3.965,6.265,4.135,6.435), (5.72,6.265,5.89,6.435), (1.465,6.625,1.635,6.795), (2.215,6.625,2.385,6.795), (3.215,6.625,3.385,6.795), (3.965,6.625,4.135,6.795), (5.72,6.625,5.89,6.795)])
R(cmos_xnor_g_vdd, met1_pin, [(0,0.125,0.5,0.625), (0,0.925,0.2,1.125), (0,3.73,0.2,3.93), (0,4.53,0.2,4.73), (7.405,4.865,7.605,5.065), (0,5.34,0.2,5.54), (0,10.73,0.5,11.23)])
A(cmos_xnor_g_vdd, met1, 1.1, 7.16, 0.4, 2.8, 3, 1, 1.5, 0)
R(cmos_xnor_g_vdd, met1, [(0,0.125,7.605,0.625), (1.33,0.625,1.53,1.475), (4.2,0.625,4.4,1.475), (5.455,0.625,5.655,1.475), (0.79,0.825,1.19,0.925), (3.6,0.825,4,1.225), (0,0.925,1.19,1.125), (0.79,1.125,1.19,1.225), (1.1,1.475,1.53,2.775), (2.6,1.475,3,2.775), (4.1,1.475,4.5,2.775), (5.355,1.475,5.755,2.775), (6.105,1.475,6.505,2.775), (6.205,2.775,6.405,4.865), (1.35,3.025,1.75,3.73), (2.1,3.025,2.5,3.785), (3.1,3.025,3.5,3.785), (3.85,3.025,4.25,3.785), (5.605,3.025,6.005,6.91), (0,3.73,1.75,3.785), (0,3.785,1.55,3.93), (2.15,3.785,2.35,4.295), (3.25,3.785,3.45,4.295), (4.05,3.785,4.25,4.835), (1.35,3.93,1.55,4.835), (0.45,4.295,1.21,4.53), (1.74,4.295,2.5,4.395), (3.05,4.295,3.81,4.695), (1.74,4.395,2.9,4.595), (0,4.53,1.21,4.73), (1.74,4.595,2.5,4.695), (2.7,4.595,2.9,5.24), (1.35,4.835,2.3,5.035), (3.3,4.835,4.25,5.035), (6.205,4.865,7.605,5.065), (2.1,5.035,2.3,6.15), (3.3,5.035,3.5,6.15), (6.205,5.065,6.405,7.16), (1.2,5.24,1.96,5.34), (2.6,5.24,3,5.64), (3.64,5.24,4.4,5.64), (0,5.34,1.96,5.54), (1.2,5.54,1.96,5.64), (1.4,5.64,1.6,6.15), (4,5.64,4.2,6.15), (1.35,6.15,1.75,6.91), (2.1,6.15,2.5,6.91), (3.1,6.15,3.5,6.91), (3.85,6.15,4.25,6.91), (5.355,7.16,5.755,9.96), (6.105,7.16,6.505,9.96), (1.2,9.96,1.4,10.73), (4.2,9.96,4.4,10.73), (5.455,9.96,5.655,10.73), (0,10.73,7.605,11.23)])
A(cmos_xnor_g_vdd, via, 2.725, 1.69, 0.15, 0.15, 1, 3, 0, 0.36)
A(cmos_xnor_g_vdd, via, 2.725, 7.225, 0.15, 0.15, 1, 8, 0, 0.36)
R(cmos_xnor_g_vdd, via, [(5.73,4.73,5.88,4.88), (5.73,5.05,5.88,5.2)])
R(cmos_xnor_g_vdd, met2, [(2.6,1.475,3,4.765), (5.605,4.605,6.005,4.765), (2.6,4.765,6.005,5.165), (2.6,5.165,3,9.96), (5.605,5.165,6.005,5.335)])
R(cmos_xnor_g_vdd, nsdm, [(0.875,1.25,4.725,3), (5.13,1.25,6.73,3), (0.325,5.685,7.28,6.105), (0.325,6.105,0.745,10.605), (6.86,6.105,7.28,10.605), (0.325,10.605,7.28,11.355)])
R(cmos_xnor_g_vdd, psdm, [(0.325,0,7.28,0.75), (0.325,0.75,0.745,3.83), (6.86,0.75,7.28,3.83), (0.325,3.83,7.28,4.25), (0.875,6.935,4.725,10.185), (5.13,6.935,6.73,10.185)])
R(cmos_xnor_g_vdd, npc, [(3.615,0.84,3.985,1.21), (1.365,3.04,1.735,3.77), (2.115,3.04,2.485,3.77), (3.115,3.04,3.485,3.77), (3.865,3.04,4.235,3.77), (5.62,3.04,5.99,3.77), (1.365,6.165,1.735,6.895), (2.115,6.165,2.485,6.895), (3.115,6.165,3.485,6.895), (3.865,6.165,4.235,6.895), (5.62,6.165,5.99,6.895)])
cmos_xnor_g_vdd.add(gdstk.Label('B_bar', (0.1,5.44), layer=68, texttype=5))
cmos_xnor_g_vdd.add(gdstk.Label('B', (0.1,4.63), layer=68, texttype=5))
cmos_xnor_g_vdd.add(gdstk.Label('A', (0.1,3.83), layer=68, texttype=5))
cmos_xnor_g_vdd.add(gdstk.Label('A_bar', (0.1,1.025), layer=68, texttype=5))
cmos_xnor_g_vdd.add(gdstk.Label('XNOR', (7.505,4.965), layer=68, texttype=5))
cmos_xnor_g_vdd.add(gdstk.Label('VDD', (0.25,10.98), layer=68, texttype=5))
cmos_xnor_g_vdd.add(gdstk.Label('GND', (0.25,0.375), layer=68, texttype=5))

cmos_and_g_vdd = lib.new_cell('CMOS_AND_G_VDD')
R(cmos_and_g_vdd, nwell, [(0.2,4.915,5.85,10.795)])
R(cmos_and_g_vdd, diff, [(1,0.525,3.1,2.025), (3.7,0.525,5.05,2.025), (1,6.375,3.1,9.375), (3.7,6.375,5.05,9.375)])
R(cmos_and_g_vdd, tap, [(0.45,-0.395,5.73,-0.225), (0.45,-0.225,0.62,3.31), (5.56,-0.225,5.73,3.31), (0.45,3.31,5.73,3.48), (0.45,5.165,5.6,5.335), (0.45,5.335,0.62,10.045), (5.43,5.335,5.6,10.045), (0.45,10.045,5.6,10.545)])
R(cmos_and_g_vdd, poly, [(1.6,0.375,1.75,2.175), (2.35,0.375,2.5,2.175), (4.3,0.375,4.45,2.175), (1.35,2.175,1.75,2.935), (2.1,2.175,2.5,2.935), (3.69,2.175,4.45,2.935), (2.1,5.505,2.5,5.905), (1.35,5.825,1.75,6.225), (3.69,5.825,4.45,6.225), (2.35,5.905,2.5,9.525), (1.6,6.225,1.75,9.525), (4.3,6.225,4.45,9.525)])
A(cmos_and_g_vdd, licon, 0.995, -0.395, 0.17, 0.17, 11, 2, 0.4, 3.705)
A(cmos_and_g_vdd, licon, 0.45, -0.03, 0.17, 0.17, 1, 6, 0, 0.4)
A(cmos_and_g_vdd, licon, 5.56, -0.03, 0.17, 0.17, 1, 6, 0, 0.4)
A(cmos_and_g_vdd, licon, 1.215, 0.68, 0.17, 0.17, 1, 4, 0, 0.34)
A(cmos_and_g_vdd, licon, 2.715, 0.68, 0.17, 0.17, 1, 4, 0, 0.34)
A(cmos_and_g_vdd, licon, 3.915, 0.68, 0.17, 0.17, 1, 4, 0, 0.34)
A(cmos_and_g_vdd, licon, 4.665, 0.68, 0.17, 0.17, 1, 4, 0, 0.34)
A(cmos_and_g_vdd, licon, 1.015, 5.165, 0.17, 0.17, 10, 1, 0.4, 0)
A(cmos_and_g_vdd, licon, 0.45, 6.21, 0.17, 0.17, 1, 10, 0, 0.4)
A(cmos_and_g_vdd, licon, 5.43, 6.21, 0.17, 0.17, 1, 10, 0, 0.4)
A(cmos_and_g_vdd, licon, 1.215, 6.6, 0.17, 0.17, 3, 8, 0.75, 0.34)
A(cmos_and_g_vdd, licon, 3.915, 6.6, 0.17, 0.17, 1, 8, 0, 0.34)
A(cmos_and_g_vdd, licon, 4.665, 6.6, 0.17, 0.17, 1, 8, 0, 0.34)
A(cmos_and_g_vdd, licon, 0.99, 10.21, 0.17, 0.17, 12, 1, 0.36, 0)
R(cmos_and_g_vdd, licon, [(1.465,2.29,1.635,2.46), (2.215,2.29,2.385,2.46), (3.805,2.29,3.975,2.46), (4.165,2.29,4.335,2.46), (1.465,2.65,1.635,2.82), (2.215,2.65,2.385,2.82), (3.805,2.65,3.975,2.82), (4.165,2.65,4.335,2.82), (2.215,5.62,2.385,5.79), (1.465,5.94,1.635,6.11), (3.805,5.94,3.975,6.11), (4.165,5.94,4.335,6.11)])
A(cmos_and_g_vdd, li1, 1.1, 6.475, 0.4, 2.8, 3, 1, 0.75, 0)
R(cmos_and_g_vdd, li1, [(0.45,-0.395,5.73,-0.225), (0.45,-0.225,0.62,3.31), (5.56,-0.225,5.73,3.31), (1.1,0.625,1.5,1.925), (2.6,0.625,3,1.925), (3.8,0.625,4.2,1.925), (4.55,0.625,4.95,1.925), (1.35,2.175,1.75,2.935), (2.1,2.175,2.5,2.935), (3.69,2.175,4.45,2.935), (0.45,3.31,5.73,3.48), (1.35,3.65,1.75,4.05), (3.69,3.65,4.45,4.05), (1.45,4.05,1.65,4.595), (1.35,4.595,1.75,4.995), (0.45,5.165,5.6,5.335), (0.45,5.335,0.62,10.095), (5.43,5.335,5.6,10.095), (2.1,5.505,2.5,5.905), (1.35,5.825,1.75,6.225), (3.69,5.825,4.45,6.075), (1.95,6.075,4.45,6.275), (1.95,6.275,2.15,6.475), (3.8,6.475,4.2,9.275), (4.55,6.475,4.95,9.275), (0.45,10.095,5.6,10.495)])
A(cmos_and_g_vdd, mcon, 0.995, -0.395, 0.17, 0.17, 11, 1, 0.4, 0)
A(cmos_and_g_vdd, mcon, 1.215, 0.83, 0.17, 0.17, 1, 3, 0, 0.36)
A(cmos_and_g_vdd, mcon, 2.715, 0.83, 0.17, 0.17, 1, 3, 0, 0.36)
A(cmos_and_g_vdd, mcon, 3.915, 0.83, 0.17, 0.17, 1, 3, 0, 0.36)
A(cmos_and_g_vdd, mcon, 4.665, 0.83, 0.17, 0.17, 1, 3, 0, 0.36)
A(cmos_and_g_vdd, mcon, 1.215, 6.53, 0.17, 0.17, 1, 8, 0, 0.36)
A(cmos_and_g_vdd, mcon, 2.715, 6.53, 0.17, 0.17, 1, 8, 0, 0.36)
A(cmos_and_g_vdd, mcon, 3.915, 6.53, 0.17, 0.17, 1, 8, 0, 0.36)
A(cmos_and_g_vdd, mcon, 4.665, 6.53, 0.17, 0.17, 1, 8, 0, 0.36)
A(cmos_and_g_vdd, mcon, 0.99, 10.21, 0.17, 0.17, 12, 1, 0.36, 0)
R(cmos_and_g_vdd, mcon, [(1.465,2.29,1.635,2.46), (2.215,2.29,2.385,2.46), (3.805,2.29,3.975,2.46), (4.165,2.29,4.335,2.46), (1.465,2.65,1.635,2.82), (2.215,2.65,2.385,2.82), (3.805,2.65,3.975,2.82), (4.165,2.65,4.335,2.82), (1.465,3.765,1.635,3.935), (3.805,3.765,3.975,3.935), (4.165,3.765,4.335,3.935), (1.465,4.71,1.635,4.88), (2.215,5.62,2.385,5.79), (1.465,5.94,1.635,6.11), (3.805,5.94,3.975,6.11), (4.165,5.94,4.335,6.11)])
R(cmos_and_g_vdd, met1_pin, [(0,-0.56,0.5,-0.06), (0,4.225,0.205,4.425), (5.85,4.235,6.05,4.435), (0,5.925,0.205,6.125), (0,10.045,0.5,10.545)])
R(cmos_and_g_vdd, met1, [(0,-0.56,6.055,-0.06), (1.2,-0.06,1.4,0.625), (3.9,-0.06,4.1,0.625), (1.1,0.625,1.5,1.925), (2.6,0.625,3,1.925), (3.8,0.625,4.2,1.925), (4.55,0.625,4.95,1.925), (2.7,1.925,2.9,2.455), (4.65,1.925,4.85,4.235), (1.35,2.175,1.75,2.935), (2.1,2.175,2.5,2.935), (3.69,2.175,4.45,2.455), (2.7,2.455,4.45,2.655), (3.69,2.655,4.45,2.935), (1.45,2.935,1.65,3.65), (2.2,2.935,2.4,4.225), (3.97,2.935,4.17,3.65), (1.35,3.65,1.75,4.05), (3.69,3.65,4.45,4.05), (3.87,4.05,4.27,5.825), (0,4.225,2.4,4.425), (4.65,4.235,6.05,4.435), (2.2,4.425,2.4,5.505), (4.65,4.435,4.85,6.475), (1.35,4.595,1.75,4.995), (1.45,4.995,1.65,5.825), (2.1,5.505,2.5,5.905), (1.35,5.825,1.75,5.925), (3.69,5.825,4.45,6.225), (0,5.925,1.75,6.125), (1.35,6.125,1.75,6.225), (1.1,6.475,1.5,9.275), (2.6,6.475,3,9.275), (3.8,6.475,4.2,9.275), (4.55,6.475,4.95,9.275), (1.2,9.275,1.4,10.045), (2.705,9.275,2.905,10.045), (3.9,9.275,4.1,10.045), (0,10.045,6.055,10.545)])
R(cmos_and_g_vdd, nsdm, [(0.875,0.4,5.175,2.15), (0.325,5.04,5.725,5.46), (0.325,5.46,0.745,9.92), (5.305,5.46,5.725,9.92), (0.325,9.92,5.725,10.67)])
R(cmos_and_g_vdd, psdm, [(0.325,-0.52,5.855,-0.1), (0.325,-0.1,0.745,3.185), (5.435,-0.1,5.855,3.185), (0.325,3.185,5.855,3.605), (0.875,6.25,5.175,9.5)])
R(cmos_and_g_vdd, npc, [(1.365,2.19,1.735,2.92), (2.115,2.19,2.485,2.92), (3.705,2.19,4.435,2.92), (2.115,5.52,2.485,5.89), (1.365,5.84,1.735,6.21), (3.705,5.84,4.435,6.21)])
cmos_and_g_vdd.add(gdstk.Label('GND', (0.25,-0.31), layer=68, texttype=5))
cmos_and_g_vdd.add(gdstk.Label('A', (0.102,4.325), layer=68, texttype=5))
cmos_and_g_vdd.add(gdstk.Label('B', (0.102,6.025), layer=68, texttype=5))
cmos_and_g_vdd.add(gdstk.Label('AND', (5.95,4.335), layer=68, texttype=5))
cmos_and_g_vdd.add(gdstk.Label('VDD', (0.25,10.295), layer=68, texttype=5))

cmos_s1_g_vdd = lib.new_cell('CMOS_s1_G_VDD')
R(cmos_s1_g_vdd, li1, [(3.99,5.66,4.39,5.94), (3.99,5.94,7.11,6.14), (3.99,6.14,4.39,6.42), (3.42,6.8,3.82,6.885), (3.42,6.885,6.36,7.085), (3.42,7.085,3.82,7.56), (1.14,7.55,1.54,7.73), (5.79,7.55,6.19,7.73), (1.14,7.73,6.19,8.13), (1.14,8.13,1.54,8.31), (5.79,8.13,6.19,8.31), (1.71,9.795,2.11,9.975), (5.79,9.795,6.19,9.975), (1.71,9.975,6.19,10.375), (1.71,10.375,2.11,10.555), (5.79,10.375,6.19,10.555), (4.59,10.545,4.99,10.905), (4.59,10.905,6.36,11.305), (4.59,11.305,4.99,11.665), (0.57,11.655,0.97,11.835), (5.79,11.655,6.19,11.835), (0.57,11.835,6.19,12.235), (0.57,12.235,0.97,12.415), (5.79,12.235,6.19,12.415), (0,13.9,0.4,14.075), (5.79,13.9,6.19,14.075), (0,14.075,6.19,14.475), (0,14.475,0.4,14.66), (5.79,14.475,6.19,14.66), (2.28,14.645,2.68,15.125), (2.28,15.125,6.36,15.325), (23.875,15.285,24.275,15.565), (2.28,15.325,2.68,15.405), (25.665,15.465,26.425,15.565), (2.85,15.51,3.25,16.07), (23.875,15.565,26.425,15.765), (23.875,15.765,24.275,16.045), (25.665,15.765,26.425,15.865), (2.85,16.07,7.11,16.27)])
A(cmos_s1_g_vdd, mcon, 4.705, 10.66, 0.17, 0.17, 1, 3, 0, 0.36)
R(cmos_s1_g_vdd, mcon, [(4.105,5.775,4.275,5.945), (4.105,6.135,4.275,6.305), (3.535,6.915,3.705,7.085), (3.535,7.275,3.705,7.445), (1.255,7.665,1.425,7.835), (5.905,7.665,6.075,7.835), (1.255,8.025,1.425,8.195), (5.905,8.025,6.075,8.195), (1.825,9.91,1.995,10.08), (5.905,9.91,6.075,10.08), (1.825,10.27,1.995,10.44), (5.905,10.27,6.075,10.44), (0.685,11.77,0.855,11.94), (5.905,11.77,6.075,11.94), (0.685,12.13,0.855,12.3), (5.905,12.13,6.075,12.3), (0.115,14.015,0.285,14.185), (5.905,14.015,6.075,14.185), (0.115,14.375,0.285,14.545), (5.905,14.375,6.075,14.545), (2.395,14.76,2.565,14.93), (2.395,15.12,2.565,15.29), (23.99,15.4,24.16,15.57), (25.78,15.58,25.95,15.75), (26.14,15.58,26.31,15.75), (2.965,15.625,3.135,15.795), (23.99,15.76,24.16,15.93), (2.965,15.985,3.135,16.155)])
A(cmos_s1_g_vdd, met1_pin, 0, 21.56, 0.4, 0.4, 8, 1, 0.57, 0)
R(cmos_s1_g_vdd, met1_pin, [(28.375,15.515,28.575,15.715), (4.59,21.56,4.99,21.96), (5.19,21.56,5.59,21.96)])
A(cmos_s1_g_vdd, met1, 0, 0.245, 0.4, 21.715, 4, 1, 0.57, 0)
A(cmos_s1_g_vdd, met1, 19.615, 8.865, 0.26, 0.26, 1, 3, 0, 0.36)
A(cmos_s1_g_vdd, met1, 26.535, 9.03, 0.26, 0.26, 1, 3, 0, 0.36)
R(cmos_s1_g_vdd, met1, [(2.85,0.245,3.25,21.96), (2.28,0.25,2.68,21.96), (3.42,0.25,3.82,21.96), (3.99,0.25,4.39,21.96), (4.59,0.25,4.99,21.96), (5.19,0.25,27.97,0.75), (5.19,0.75,5.59,21.46), (21.715,4.29,22.115,5.09), (13.845,5.24,14.645,5.64), (21.715,5.84,22.115,6.57), (13.845,6.34,14.645,6.74), (5.79,7.55,6.19,8.31), (5.79,9.795,6.19,10.555), (5.91,10.855,28.575,11.355), (5.79,11.655,6.19,12.415), (5.79,13.9,6.19,14.66), (23.875,15.285,24.275,16.045), (25.665,15.465,26.425,15.865), (28.375,15.515,28.575,15.715), (13.315,15.64,14.385,15.84), (19.235,16.37,21.775,16.57), (13.845,17.24,14.645,17.64), (5.19,21.46,28.575,21.96)])
A(cmos_s1_g_vdd, via, 19.67, 8.92, 0.15, 0.15, 1, 3, 0, 0.36)
A(cmos_s1_g_vdd, via, 26.59, 9.085, 0.15, 0.15, 1, 3, 0, 0.36)
R(cmos_s1_g_vdd, via, [(2.975,4.22,3.125,4.37), (21.84,4.42,21.99,4.57), (2.975,4.62,3.125,4.77), (21.84,4.82,21.99,4.97), (0.695,5.07,0.845,5.22), (13.965,5.365,14.115,5.515), (14.365,5.365,14.515,5.515), (0.695,5.47,0.845,5.62), (21.84,5.965,21.99,6.115), (1.265,6.27,1.415,6.42), (21.84,6.285,21.99,6.435), (13.965,6.465,14.115,6.615), (14.365,6.465,14.515,6.615), (1.265,6.67,1.415,6.82), (4.115,7.805,4.265,7.955), (4.115,8.205,4.265,8.355), (25.79,15.59,25.94,15.74), (26.15,15.59,26.3,15.74), (3.545,17.165,3.695,17.315), (13.965,17.365,14.115,17.515), (14.365,17.365,14.515,17.515), (3.545,17.565,3.695,17.715)])
R(cmos_s1_g_vdd, met2, [(2.85,4.09,3.25,4.89), (21.715,4.29,22.115,5.09), (0.57,4.94,0.97,5.74), (13.845,5.24,14.645,5.64), (21.715,5.84,22.115,5.945), (10.45,5.945,22.115,6.145), (1.14,6.14,1.54,6.94), (21.715,6.145,22.115,6.57), (13.845,6.34,14.645,6.74), (3.99,7.675,4.39,8.475), (13.845,7.875,14.645,8.275), (19.545,8.705,19.945,10.005), (26.465,8.87,26.865,10.17), (19.645,10.005,19.845,14.035), (26.565,10.17,26.765,15.565), (19.645,14.035,21.775,14.235), (25.665,15.465,26.425,15.565), (25.665,15.565,26.765,15.765), (25.665,15.765,26.425,15.865), (3.42,17.035,3.82,17.835), (13.845,17.24,14.645,17.64)])
R(cmos_s1_g_vdd, via2, [(2.95,4.195,3.15,4.395), (21.815,4.395,22.015,4.595), (2.95,4.595,3.15,4.795), (21.815,4.795,22.015,4.995), (0.67,5.045,0.87,5.245), (13.94,5.34,14.14,5.54), (14.34,5.34,14.54,5.54), (0.67,5.445,0.87,5.645), (1.24,6.245,1.44,6.445), (13.94,6.44,14.14,6.64), (14.34,6.44,14.54,6.64), (1.24,6.645,1.44,6.845), (4.09,7.78,4.29,7.98), (13.95,7.975,14.15,8.175), (14.35,7.975,14.55,8.175), (4.09,8.18,4.29,8.38), (3.52,17.14,3.72,17.34), (13.94,17.34,14.14,17.54), (14.34,17.34,14.54,17.54), (3.52,17.54,3.72,17.74)])
R(cmos_s1_g_vdd, met3, [(2.8,4.04,3.3,4.49), (21.665,4.24,22.165,4.49), (2.8,4.49,22.165,4.89), (0.52,4.89,1.02,5.24), (2.8,4.89,3.3,4.94), (21.665,4.89,22.165,5.14), (13.795,5.19,14.695,5.24), (0.52,5.24,14.695,5.64), (0.52,5.64,1.02,5.79), (13.795,5.64,14.695,5.69), (1.09,6.09,1.59,6.34), (13.795,6.29,14.695,6.34), (1.09,6.34,14.695,6.74), (1.09,6.74,1.59,6.99), (13.795,6.74,14.695,6.79), (3.94,7.625,4.44,7.875), (13.795,7.825,14.695,7.875), (3.94,7.875,14.695,8.275), (3.94,8.275,4.44,8.525), (13.795,8.275,14.695,8.325), (3.37,16.985,3.87,17.24), (13.795,17.19,14.695,17.24), (3.37,17.24,14.695,17.64), (3.37,17.64,3.87,17.885), (13.795,17.64,14.695,17.69)])
cmos_s1_g_vdd.add(gdstk.Reference(cmos_xor_g_vdd, (5.91,11.48), x_reflection=True))
cmos_s1_g_vdd.add(gdstk.Reference(cmos_3in_and_g_vdd, (14.245,11.48), x_reflection=True))
cmos_s1_g_vdd.add(gdstk.Reference(cmos_3in_or_g_vdd, (21.775,10.73)))
cmos_s1_g_vdd.add(gdstk.Reference(cmos_xnor_g_vdd, (5.91,10.73)))
cmos_s1_g_vdd.add(gdstk.Reference(cmos_and_g_vdd, (14.385,11.415)))
cmos_s1_g_vdd.add(gdstk.Reference(cmos_and_g_vdd, (21.915,10.795), x_reflection=True))
cmos_s1_g_vdd.add(gdstk.Label('x0', (0.2,21.76), layer=68, texttype=5))
cmos_s1_g_vdd.add(gdstk.Label('x0_bar', (0.77,21.76), layer=68, texttype=5))
cmos_s1_g_vdd.add(gdstk.Label('x1', (1.34,21.76), layer=68, texttype=5))
cmos_s1_g_vdd.add(gdstk.Label('x1_bar', (1.91,21.76), layer=68, texttype=5))
cmos_s1_g_vdd.add(gdstk.Label('x2', (2.48,21.76), layer=68, texttype=5))
cmos_s1_g_vdd.add(gdstk.Label('x2_bar', (3.05,21.76), layer=68, texttype=5))
cmos_s1_g_vdd.add(gdstk.Label('x3', (3.62,21.76), layer=68, texttype=5))
cmos_s1_g_vdd.add(gdstk.Label('x3_bar', (4.19,21.76), layer=68, texttype=5))
cmos_s1_g_vdd.add(gdstk.Label('s1', (28.475,15.615), layer=68, texttype=5))
cmos_s1_g_vdd.add(gdstk.Label('VDD', (5.39,21.76), layer=68, texttype=5))
cmos_s1_g_vdd.add(gdstk.Label('GND', (4.79,21.76), layer=68, texttype=5))

lib.write_gds('CMOS_s1_G_VDD.gds')
